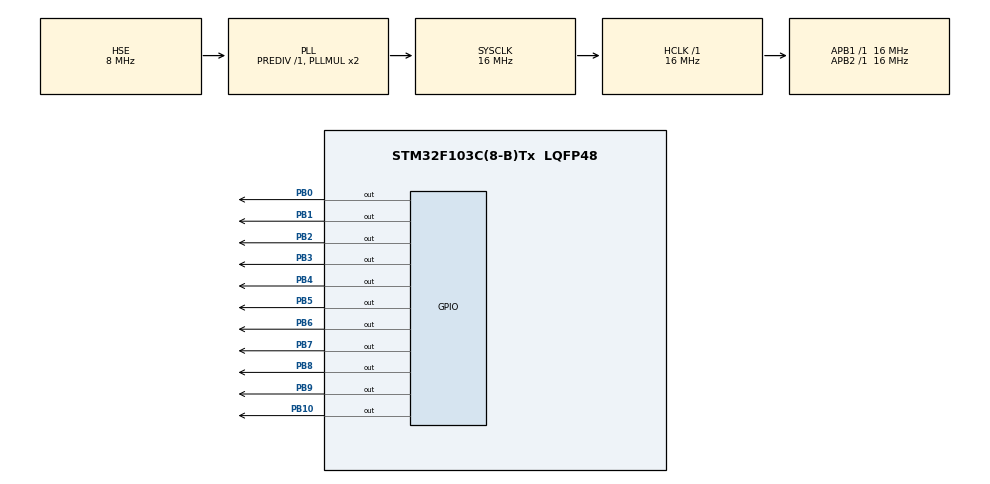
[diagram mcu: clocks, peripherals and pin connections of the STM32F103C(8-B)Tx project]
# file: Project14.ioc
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Mcu.Family=STM32F1
Mcu.Name=STM32F103C(8-B)Tx
Mcu.Package=LQFP48
NVIC.PriorityGroup=NVIC_PRIORITYGROUP_4
NVIC.TIM1_UP_IRQn=true\:0\:0\:false\:false\:true\:true\:true\:true
PA13.Mode=Serial_Wire
PA13.Signal=SYS_JTMS-SWDIO
PA14.Mode=Serial_Wire
PA14.Signal=SYS_JTCK-SWCLK
PB0.Signal=GPIO_Output
PB1.Signal=GPIO_Output
PB10.Signal=GPIO_Output
PB2.Signal=GPIO_Output
PB3.Signal=GPIO_Output
PB4.Signal=GPIO_Output
PB5.Signal=GPIO_Output
PB6.Signal=GPIO_Output
PB7.Signal=GPIO_Output
PB8.Signal=GPIO_Output
PB9.Signal=GPIO_Output
PD0-OSC_IN.Mode=HSE-External-Oscillator
PD0-OSC_IN.Signal=RCC_OSC_IN
PD1-OSC_OUT.Mode=HSE-External-Oscillator
PD1-OSC_OUT.Signal=RCC_OSC_OUT
ProjectManager.HeapSize=0x200
ProjectManager.StackSize=0x400
ProjectManager.TargetToolchain=STM32CubeIDE
RCC.AHBFreq_Value=16000000
RCC.APB1Freq_Value=16000000
RCC.APB1TimFreq_Value=16000000
RCC.APB2Freq_Value=16000000
RCC.APB2TimFreq_Value=16000000
RCC.HCLKFreq_Value=16000000
RCC.PLLSourceVirtual=RCC_PLLSOURCE_HSE
RCC.SYSCLKFreq_VALUE=16000000
RCC.SYSCLKSource=RCC_SYSCLKSOURCE_PLLCLK
RCC.USBFreq_Value=16000000
TIM1.AutoReloadPreload=TIM_AUTORELOAD_PRELOAD_ENABLE
TIM1.Period=999
TIM1.Prescaler=15999
VP_TIM1_VS_ClockSourceINT.Mode=Internal
board=custom

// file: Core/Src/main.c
/* USER CODE BEGIN Header */
/**
  ******************************************************************************
  * @file           : main.c
  * @brief          : Main program body
  ******************************************************************************
  * @attention
  *
  * Copyright (c) 2025 STMicroelectronics.
  * All rights reserved.
  *
  * This software is licensed under terms that can be found in the LICENSE file
  * in the root directory of this software component.
  * If no LICENSE file comes with this software, it is provided AS-IS.
  *
  ******************************************************************************
  */
/* USER CODE END Header */
#include "main.h"

/* USER CODE BEGIN Includes */
#include "lcd.h"
/* USER CODE END Includes */

TIM_HandleTypeDef htim1;

void SystemClock_Config(void);
static void MX_GPIO_Init(void);
static void MX_TIM1_Init(void);

/* USER CODE BEGIN 0 */
char s = 0;
char m = 2;
char h = 17;
char str[16];

void HAL_TIM_PeriodElapsedCallback(TIM_HandleTypeDef *htim){
	if(htim == &htim1){
		s++;
		if (s == 60) {s = 0 ; m++;}
		if (m == 60) {m = 0 ; h++;}
		if (h == 24) {h = 0;}
	}
}
/* USER CODE END 0 */

int main(void)
{

  /* MCU Configuration--------------------------------------------------------*/

  /* Reset of all peripherals, Initializes the Flash interface and the Systick. */
  HAL_Init();

  /* Configure the system clock */
  SystemClock_Config();

  /* Initialize all configured peripherals */
  MX_GPIO_Init();
  MX_TIM1_Init();
  /* USER CODE BEGIN 2 */

  lcd_init();

  HAL_TIM_Base_Start_IT(&htim1);
  lcd_gotoxy(0, 0);
  lcd_puts("    Timer RTC");
  /* USER CODE END 2 */

  /* Infinite loop */
  while (1)
  {

    /* USER CODE BEGIN 3 */

	  sprintf(str, "%02d:%02d:%02d", h, m, s);
	  lcd_gotoxy(0, 1);
	  lcd_puts(str);
  }
  /* USER CODE END 3 */
}

void SystemClock_Config(void)
{
  RCC_OscInitTypeDef RCC_OscInitStruct = {0};
  RCC_ClkInitTypeDef RCC_ClkInitStruct = {0};

  /** Initializes the RCC Oscillators according to the specified parameters
  * in the RCC_OscInitTypeDef structure.
  */
  RCC_OscInitStruct.OscillatorType = RCC_OSCILLATORTYPE_HSE;
  RCC_OscInitStruct.HSEState = RCC_HSE_ON;
  RCC_OscInitStruct.HSEPredivValue = RCC_HSE_PREDIV_DIV1;
  RCC_OscInitStruct.HSIState = RCC_HSI_ON;
  RCC_OscInitStruct.PLL.PLLState = RCC_PLL_ON;
  RCC_OscInitStruct.PLL.PLLSource = RCC_PLLSOURCE_HSE;
  RCC_OscInitStruct.PLL.PLLMUL = RCC_PLL_MUL2;
  if (HAL_RCC_OscConfig(&RCC_OscInitStruct) != HAL_OK)
  {
    Error_Handler();
  }

  /** Initializes the CPU, AHB and APB buses clocks
  */
  RCC_ClkInitStruct.ClockType = RCC_CLOCKTYPE_HCLK|RCC_CLOCKTYPE_SYSCLK
                              |RCC_CLOCKTYPE_PCLK1|RCC_CLOCKTYPE_PCLK2;
  RCC_ClkInitStruct.SYSCLKSource = RCC_SYSCLKSOURCE_PLLCLK;
  RCC_ClkInitStruct.AHBCLKDivider = RCC_SYSCLK_DIV1;
  RCC_ClkInitStruct.APB1CLKDivider = RCC_HCLK_DIV1;
  RCC_ClkInitStruct.APB2CLKDivider = RCC_HCLK_DIV1;

  if (HAL_RCC_ClockConfig(&RCC_ClkInitStruct, FLASH_LATENCY_0) != HAL_OK)
  {
    Error_Handler();
  }
}

static void MX_TIM1_Init(void)
{

  TIM_ClockConfigTypeDef sClockSourceConfig = {0};
  TIM_MasterConfigTypeDef sMasterConfig = {0};

  htim1.Instance = TIM1;
  htim1.Init.Prescaler = 15999;
  htim1.Init.CounterMode = TIM_COUNTERMODE_UP;
  htim1.Init.Period = 999;
  htim1.Init.ClockDivision = TIM_CLOCKDIVISION_DIV1;
  htim1.Init.RepetitionCounter = 0;
  htim1.Init.AutoReloadPreload = TIM_AUTORELOAD_PRELOAD_ENABLE;
  if (HAL_TIM_Base_Init(&htim1) != HAL_OK)
  {
    Error_Handler();
  }
  sClockSourceConfig.ClockSource = TIM_CLOCKSOURCE_INTERNAL;
  if (HAL_TIM_ConfigClockSource(&htim1, &sClockSourceConfig) != HAL_OK)
  {
    Error_Handler();
  }
  sMasterConfig.MasterOutputTrigger = TIM_TRGO_RESET;
  sMasterConfig.MasterSlaveMode = TIM_MASTERSLAVEMODE_DISABLE;
  if (HAL_TIMEx_MasterConfigSynchronization(&htim1, &sMasterConfig) != HAL_OK)
  {
    Error_Handler();
  }

}

static void MX_GPIO_Init(void)
{
  GPIO_InitTypeDef GPIO_InitStruct = {0};

  /* GPIO Ports Clock Enable */
  __HAL_RCC_GPIOD_CLK_ENABLE();
  __HAL_RCC_GPIOB_CLK_ENABLE();
  __HAL_RCC_GPIOA_CLK_ENABLE();

  /*Configure GPIO pin Output Level */
  HAL_GPIO_WritePin(GPIOB, GPIO_PIN_0|GPIO_PIN_1|GPIO_PIN_2|GPIO_PIN_10
                          |GPIO_PIN_3|GPIO_PIN_4|GPIO_PIN_5|GPIO_PIN_6
                          |GPIO_PIN_7|GPIO_PIN_8|GPIO_PIN_9, GPIO_PIN_RESET);

  /*Configure GPIO pins : PB0 PB1 PB2 PB10
                           PB3 PB4 PB5 PB6
                           PB7 PB8 PB9 */
  GPIO_InitStruct.Pin = GPIO_PIN_0|GPIO_PIN_1|GPIO_PIN_2|GPIO_PIN_10
                          |GPIO_PIN_3|GPIO_PIN_4|GPIO_PIN_5|GPIO_PIN_6
                          |GPIO_PIN_7|GPIO_PIN_8|GPIO_PIN_9;
  GPIO_InitStruct.Mode = GPIO_MODE_OUTPUT_PP;
  GPIO_InitStruct.Pull = GPIO_NOPULL;
  GPIO_InitStruct.Speed = GPIO_SPEED_FREQ_LOW;
  HAL_GPIO_Init(GPIOB, &GPIO_InitStruct);

}

void Error_Handler(void)
{
  __disable_irq();
  while (1)
  {
  }
}
